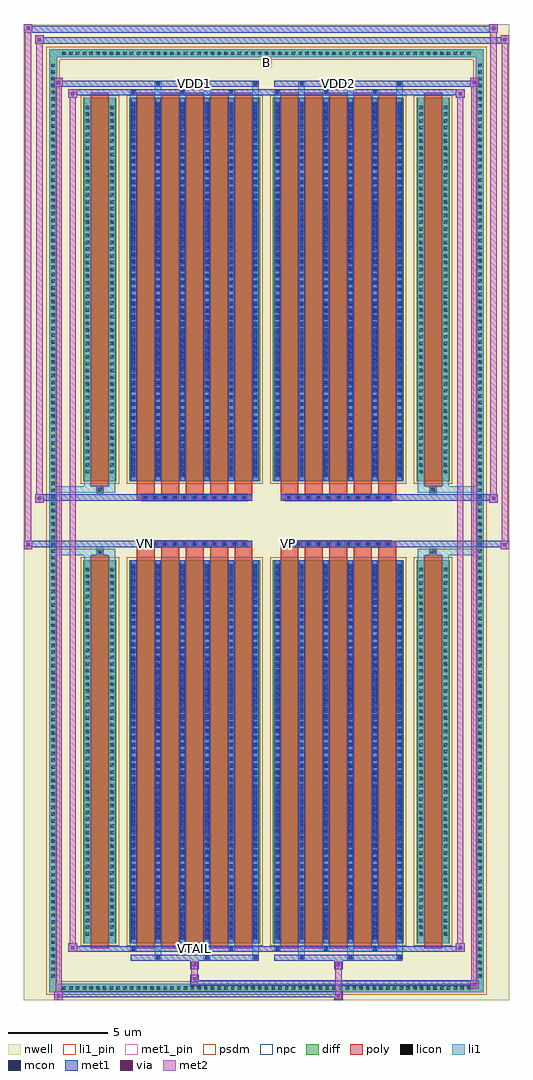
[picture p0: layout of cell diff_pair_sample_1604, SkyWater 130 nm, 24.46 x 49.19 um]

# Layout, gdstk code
import gdstk
lib = gdstk.Library(unit=1e-6, precision=5e-09)
def R(c, l, rs):  # rectangles x0, y0, x1, y1
    for r in rs: c.add(gdstk.rectangle(r[:2], r[2:], *l))
def A(c, l, x, y, w, h, nx, ny, dx, dy):  # array of equal rectangles
    R(c, l, [(x+i*dx, y+j*dy, x+i*dx+w, y+j*dy+h) for i in range(nx) for j in range(ny)])
def P(c, l, *ps):  # polygons
    for p in ps: c.add(gdstk.Polygon(p, *l))
nwell = (64, 20)
diff = (65, 20)
poly = (66, 20)
licon = (66, 44)
li1_pin = (67, 16)
li1 = (67, 20)
mcon = (67, 44)
met1_pin = (68, 16)
met1 = (68, 20)
via = (68, 44)
met2 = (69, 20)
psdm = (94, 20)
npc = (95, 20)

diff_pair_sample_1604 = lib.new_cell('diff_pair_sample_1604')
R(diff_pair_sample_1604, nwell, [(-12.23,-24.16,12.23,25.03), (-9.55,-22.35,-0.01,-0.805), (0.01,-22.35,9.55,-0.805), (-9.55,0.805,-0.01,22.35), (0.01,0.805,9.55,22.35)])
A(diff_pair_sample_1604, diff, -10.405, -23.76, 0.41, 0.41, 61, 2, 0.34, 47.11)
A(diff_pair_sample_1604, diff, -10.96, -23.155, 0.41, 0.41, 1, 136, 0, 0.34)
A(diff_pair_sample_1604, diff, 10.55, -23.155, 0.41, 0.41, 1, 136, 0, 0.34)
R(diff_pair_sample_1604, diff, [(-10.405,-23.76,10.405,-23.35), (-10.96,-23.155,-10.55,23.155), (10.55,-23.155,10.96,23.155), (-9.24,-21.305,-7.56,-1.985), (-6.92,-21.305,-0.32,-1.985), (0.32,-21.305,6.92,-1.985), (7.56,-21.305,9.24,-1.985), (-9.24,1.985,-7.56,21.305), (-6.92,1.985,-0.32,21.305), (0.32,1.985,6.92,21.305), (7.56,1.985,9.24,21.305), (-10.405,23.35,10.405,23.76)])
P(diff_pair_sample_1604, diff, [(10.96,23.76),(-10.96,23.76),(-10.96,-23.35),(-10.55,-23.35),(-10.55,23.35),(10.55,23.35),(10.55,-23.35),(-10.55,-23.35),(-10.96,-23.35),(-10.96,-23.76),(10.96,-23.76)])
A(diff_pair_sample_1604, poly, -6.53, -21.555, 0.9, 19.82, 5, 2, 1.23, 23.29)
A(diff_pair_sample_1604, poly, 0.71, -21.555, 0.9, 19.82, 5, 2, 1.23, 23.29)
A(diff_pair_sample_1604, poly, -6.53, -1.735, 0.9, 0.4, 5, 2, 1.23, 3.07)
A(diff_pair_sample_1604, poly, 0.71, -1.735, 0.9, 0.4, 5, 2, 1.23, 3.07)
A(diff_pair_sample_1604, poly, -6.285, -1.335, 0.33, 0.33, 11, 2, 0.5, 2.34)
A(diff_pair_sample_1604, poly, 0.955, -1.335, 0.33, 0.33, 11, 2, 0.5, 2.34)
R(diff_pair_sample_1604, poly, [(-8.85,-21.555,-7.95,-1.735), (7.95,-21.555,8.85,-1.735), (-8.565,-1.735,-8.235,-1.405), (-8.565,-1.735,-8.235,-1.405), (8.235,-1.735,8.565,-1.405), (8.235,-1.735,8.565,-1.405), (-6.53,-1.335,-0.71,-1.005), (0.71,-1.335,6.53,-1.005), (-6.53,1.005,-0.71,1.335), (0.71,1.005,6.53,1.335), (-8.565,1.405,-8.235,1.735), (-8.565,1.405,-8.235,1.735), (8.235,1.405,8.565,1.735), (8.235,1.405,8.565,1.735), (-8.85,1.735,-7.95,21.555), (7.95,1.735,8.85,21.555)])
A(diff_pair_sample_1604, licon, -10.285, -23.64, 0.17, 0.17, 61, 2, 0.34, 47.11)
A(diff_pair_sample_1604, licon, -10.84, -23.035, 0.17, 0.17, 1, 136, 0, 0.34)
A(diff_pair_sample_1604, licon, 10.67, -23.035, 0.17, 0.17, 1, 136, 0, 0.34)
A(diff_pair_sample_1604, licon, -9.1, -20.91, 0.17, 0.17, 1, 55, 0, 0.34)
A(diff_pair_sample_1604, licon, -7.87, -20.91, 0.17, 0.17, 1, 55, 0, 0.34)
A(diff_pair_sample_1604, licon, -6.78, -20.91, 0.17, 0.17, 6, 55, 1.23, 0.34)
A(diff_pair_sample_1604, licon, 0.46, -20.91, 0.17, 0.17, 6, 55, 1.23, 0.34)
A(diff_pair_sample_1604, licon, 7.7, -20.91, 0.17, 0.17, 1, 55, 0, 0.34)
A(diff_pair_sample_1604, licon, 8.93, -20.91, 0.17, 0.17, 1, 55, 0, 0.34)
A(diff_pair_sample_1604, licon, -6.205, -1.255, 0.17, 0.17, 11, 2, 0.5, 2.34)
A(diff_pair_sample_1604, licon, 1.035, -1.255, 0.17, 0.17, 11, 2, 0.5, 2.34)
A(diff_pair_sample_1604, licon, -9.1, 2.38, 0.17, 0.17, 1, 55, 0, 0.34)
A(diff_pair_sample_1604, licon, -7.87, 2.38, 0.17, 0.17, 1, 55, 0, 0.34)
A(diff_pair_sample_1604, licon, -6.78, 2.38, 0.17, 0.17, 6, 55, 1.23, 0.34)
A(diff_pair_sample_1604, licon, 0.46, 2.38, 0.17, 0.17, 6, 55, 1.23, 0.34)
A(diff_pair_sample_1604, licon, 7.7, 2.38, 0.17, 0.17, 1, 55, 0, 0.34)
A(diff_pair_sample_1604, licon, 8.93, 2.38, 0.17, 0.17, 1, 55, 0, 0.34)
R(diff_pair_sample_1604, licon, [(-8.485,-1.655,-8.315,-1.485), (8.315,-1.655,8.485,-1.485), (-8.485,1.485,-8.315,1.655), (8.315,1.485,8.485,1.655)])
R(diff_pair_sample_1604, li1_pin, [(-0.25,22.85,0.25,23.35)])
A(diff_pair_sample_1604, li1, -10.365, -23.72, 0.33, 0.33, 61, 2, 0.34, 47.11)
A(diff_pair_sample_1604, li1, -10.92, -23.115, 0.33, 0.33, 1, 136, 0, 0.34)
A(diff_pair_sample_1604, li1, 10.59, -23.115, 0.33, 0.33, 1, 136, 0, 0.34)
A(diff_pair_sample_1604, li1, -5.63, -22.11, 0.33, 0.805, 3, 2, 2.46, 43.415)
A(diff_pair_sample_1604, li1, -5.55, -22.11, 0.17, 0.17, 3, 2, 2.46, 44.05)
A(diff_pair_sample_1604, li1, 1.61, -22.11, 0.33, 0.805, 3, 2, 2.46, 43.415)
A(diff_pair_sample_1604, li1, 1.69, -22.11, 0.17, 0.17, 3, 2, 2.46, 44.05)
A(diff_pair_sample_1604, li1, -6.86, -21.68, 0.33, 0.375, 3, 2, 2.46, 42.985)
A(diff_pair_sample_1604, li1, -6.78, -21.68, 0.17, 0.17, 3, 2, 2.46, 43.19)
A(diff_pair_sample_1604, li1, 0.38, -21.68, 0.33, 0.375, 3, 2, 2.46, 42.985)
A(diff_pair_sample_1604, li1, 0.46, -21.68, 0.17, 0.17, 3, 2, 2.46, 43.19)
A(diff_pair_sample_1604, li1, -6.86, -21.305, 0.33, 19.32, 6, 2, 1.23, 23.29)
A(diff_pair_sample_1604, li1, 0.38, -21.305, 0.33, 19.32, 6, 2, 1.23, 23.29)
A(diff_pair_sample_1604, li1, -6.78, -21.09, 0.17, 0.17, 6, 53, 1.23, 0.36)
A(diff_pair_sample_1604, li1, -6.78, -21.09, 0.17, 18.89, 6, 2, 1.23, 23.29)
A(diff_pair_sample_1604, li1, 0.46, -21.09, 0.17, 0.17, 6, 53, 1.23, 0.36)
A(diff_pair_sample_1604, li1, 0.46, -21.09, 0.17, 18.89, 6, 2, 1.23, 23.29)
A(diff_pair_sample_1604, li1, -9.18, -20.99, 0.33, 0.33, 1, 55, 0, 0.34)
A(diff_pair_sample_1604, li1, -7.95, -20.99, 0.33, 0.33, 1, 55, 0, 0.34)
A(diff_pair_sample_1604, li1, -6.86, -20.99, 0.33, 0.33, 6, 55, 1.23, 0.34)
A(diff_pair_sample_1604, li1, 0.38, -20.99, 0.33, 0.33, 6, 55, 1.23, 0.34)
A(diff_pair_sample_1604, li1, 7.62, -20.99, 0.33, 0.33, 1, 55, 0, 0.34)
A(diff_pair_sample_1604, li1, 8.85, -20.99, 0.33, 0.33, 1, 55, 0, 0.34)
A(diff_pair_sample_1604, li1, -6.285, -1.335, 0.33, 0.33, 11, 2, 0.5, 2.34)
A(diff_pair_sample_1604, li1, 0.955, -1.335, 0.33, 0.33, 11, 2, 0.5, 2.34)
A(diff_pair_sample_1604, li1, -6.78, 2.2, 0.17, 0.17, 6, 53, 1.23, 0.36)
A(diff_pair_sample_1604, li1, 0.46, 2.2, 0.17, 0.17, 6, 53, 1.23, 0.36)
A(diff_pair_sample_1604, li1, -9.18, 2.3, 0.33, 0.33, 1, 55, 0, 0.34)
A(diff_pair_sample_1604, li1, -7.95, 2.3, 0.33, 0.33, 1, 55, 0, 0.34)
A(diff_pair_sample_1604, li1, -6.86, 2.3, 0.33, 0.33, 6, 55, 1.23, 0.34)
A(diff_pair_sample_1604, li1, 0.38, 2.3, 0.33, 0.33, 6, 55, 1.23, 0.34)
A(diff_pair_sample_1604, li1, 7.62, 2.3, 0.33, 0.33, 1, 55, 0, 0.34)
A(diff_pair_sample_1604, li1, 8.85, 2.3, 0.33, 0.33, 1, 55, 0, 0.34)
R(diff_pair_sample_1604, li1, [(-10.96,-23.76,-10.55,-23.35), (-10.96,-23.76,-10.55,-23.35), (-10.55,-23.76,10.55,-23.35), (10.55,-23.76,10.96,-23.35), (10.55,-23.76,10.96,-23.35), (-10.96,-23.35,-10.55,23.35), (10.55,-23.35,10.96,23.35), (-9.18,-21.305,-8.85,-1.985), (-7.95,-21.305,-7.62,-1.985), (7.62,-21.305,7.95,-1.985), (8.85,-21.305,9.18,-1.985), (-9.18,-1.985,-8.85,-1.405), (-7.95,-1.985,-7.62,-1.405), (7.62,-1.985,7.95,-1.405), (8.85,-1.985,9.18,-1.405), (-10.96,-1.735,-8.565,-1.405), (-9.18,-1.735,-8.565,-1.405), (-8.565,-1.735,-8.235,-1.405), (-8.235,-1.735,-7.62,-1.405), (7.62,-1.735,8.235,-1.405), (8.235,-1.735,8.565,-1.405), (8.235,-1.735,10.96,-1.405), (8.565,-1.735,9.18,-1.405), (-10.96,1.405,-8.565,1.735), (-9.18,1.405,-8.565,1.735), (-9.18,1.405,-8.85,1.985), (-8.565,1.405,-8.235,1.735), (-8.235,1.405,-7.62,1.735), (-7.95,1.405,-7.62,1.985), (7.62,1.405,8.235,1.735), (7.62,1.405,7.95,1.985), (8.235,1.405,8.565,1.735), (8.235,1.405,10.96,1.735), (8.565,1.405,9.18,1.735), (8.85,1.405,9.18,1.985), (-9.18,1.985,-8.85,21.305), (-7.95,1.985,-7.62,21.305), (7.62,1.985,7.95,21.305), (8.85,1.985,9.18,21.305), (-10.96,23.35,-10.55,23.76), (-10.96,23.35,-10.55,23.76), (-10.55,23.35,10.55,23.76), (10.55,23.35,10.96,23.76), (10.55,23.35,10.96,23.76)])
A(diff_pair_sample_1604, mcon, -5.55, -22.11, 0.17, 0.17, 3, 2, 2.46, 44.05)
A(diff_pair_sample_1604, mcon, 1.69, -22.11, 0.17, 0.17, 3, 2, 2.46, 44.05)
A(diff_pair_sample_1604, mcon, -6.78, -21.68, 0.17, 0.17, 3, 2, 2.46, 43.19)
A(diff_pair_sample_1604, mcon, 0.46, -21.68, 0.17, 0.17, 3, 2, 2.46, 43.19)
A(diff_pair_sample_1604, mcon, -6.78, -21.09, 0.17, 0.17, 6, 53, 1.23, 0.36)
A(diff_pair_sample_1604, mcon, 0.46, -21.09, 0.17, 0.17, 6, 53, 1.23, 0.36)
A(diff_pair_sample_1604, mcon, -6.205, -1.255, 0.17, 0.17, 11, 2, 0.5, 2.34)
A(diff_pair_sample_1604, mcon, 1.035, -1.255, 0.17, 0.17, 11, 2, 0.5, 2.34)
A(diff_pair_sample_1604, mcon, -6.78, 2.2, 0.17, 0.17, 6, 53, 1.23, 0.36)
A(diff_pair_sample_1604, mcon, 0.46, 2.2, 0.17, 0.17, 6, 53, 1.23, 0.36)
R(diff_pair_sample_1604, met1_pin, [(-3.755,-21.72,-3.485,-21.45), (-6.255,-1.295,-5.985,-1.025), (0.985,-1.295,1.255,-1.025), (-3.755,21.9,-3.485,22.17), (3.485,21.9,3.755,22.17)])
A(diff_pair_sample_1604, met1, -5.61, -22.17, 0.29, 0.29, 3, 2, 2.46, 44.05)
A(diff_pair_sample_1604, met1, 1.63, -22.17, 0.29, 0.29, 3, 2, 2.46, 44.05)
A(diff_pair_sample_1604, met1, -6.84, -21.74, 0.29, 0.29, 3, 2, 2.46, 43.19)
A(diff_pair_sample_1604, met1, 0.4, -21.74, 0.29, 0.29, 3, 2, 2.46, 43.19)
A(diff_pair_sample_1604, met1, -6.84, -21.305, 0.29, 19.32, 6, 2, 1.23, 23.29)
A(diff_pair_sample_1604, met1, 0.4, -21.305, 0.29, 19.32, 6, 2, 1.23, 23.29)
A(diff_pair_sample_1604, met1, -6.84, -21.15, 0.29, 0.29, 6, 53, 1.23, 0.36)
A(diff_pair_sample_1604, met1, 0.4, -21.15, 0.29, 0.29, 6, 53, 1.23, 0.36)
A(diff_pair_sample_1604, met1, -6.265, -1.315, 0.29, 0.29, 11, 2, 0.5, 2.34)
A(diff_pair_sample_1604, met1, 0.975, -1.315, 0.29, 0.29, 11, 2, 0.5, 2.34)
A(diff_pair_sample_1604, met1, -6.84, 2.14, 0.29, 0.29, 6, 53, 1.23, 0.36)
A(diff_pair_sample_1604, met1, 0.4, 2.14, 0.29, 0.29, 6, 53, 1.23, 0.36)
R(diff_pair_sample_1604, met1, [(-10.69,-24.16,-10.26,-23.73), (3.405,-24.16,3.835,-23.73), (-10.69,-24.02,3.835,-23.73), (10.26,-23.59,10.69,-23.16), (-3.835,-23.45,10.69,-23.16), (-3.835,-23.31,-3.405,-22.88), (-3.835,-22.6,-3.405,-22.17), (3.405,-22.6,3.835,-22.17), (-6.84,-22.17,-0.4,-21.88), (0.4,-22.17,6.84,-21.88), (-9.98,-21.74,-9.55,-21.31), (-9.98,-21.74,-6.84,-21.45), (-6.84,-21.74,-0.4,-21.45), (-0.4,-21.74,0.4,-21.45), (0.4,-21.74,6.84,-21.45), (6.84,-21.74,9.98,-21.45), (9.55,-21.74,9.98,-21.31), (-12.23,-1.435,-11.8,-1.005), (11.8,-1.435,12.23,-1.005), (-12.23,-1.335,-0.71,-1.005), (-6.53,-1.335,-0.71,-1.005), (0.71,-1.335,6.53,-1.005), (0.71,-1.335,12.23,-1.005), (-11.66,0.905,-11.23,1.335), (11.23,0.905,11.66,1.335), (-11.66,1.005,-6.53,1.335), (-6.53,1.005,-0.71,1.335), (0.71,1.005,6.53,1.335), (6.53,1.005,11.66,1.335), (-9.98,21.31,-9.55,21.74), (9.55,21.31,9.98,21.74), (-9.98,21.45,-6.84,21.74), (-6.84,21.45,-0.4,21.74), (-0.4,21.45,0.4,21.74), (0.4,21.45,6.84,21.74), (6.84,21.45,9.98,21.74), (-10.69,21.88,-10.26,22.31), (-10.69,21.88,-6.84,22.17), (-6.84,21.88,-0.4,22.17), (0.4,21.88,6.84,22.17), (6.84,21.88,10.69,22.17), (10.26,21.88,10.69,22.31), (-11.66,24.03,-11.23,24.46), (-11.66,24.03,-9.55,24.36), (-9.55,24.03,9.55,24.36), (9.55,24.03,12.23,24.36), (11.8,24.03,12.23,24.46), (-12.23,24.6,-11.8,25.03), (-12.23,24.6,-9.55,24.93), (-9.55,24.6,9.55,24.93), (9.55,24.6,11.66,24.93), (11.23,24.6,11.66,25.03)])
R(diff_pair_sample_1604, via, [(-10.55,-24.02,-10.4,-23.87), (3.545,-24.02,3.695,-23.87), (10.4,-23.45,10.55,-23.3), (-3.695,-23.17,-3.545,-23.02), (-3.695,-22.46,-3.545,-22.31), (3.545,-22.46,3.695,-22.31), (-9.84,-21.6,-9.69,-21.45), (9.69,-21.6,9.84,-21.45), (-12.09,-1.295,-11.94,-1.145), (11.94,-1.295,12.09,-1.145), (-11.52,1.045,-11.37,1.195), (11.37,1.045,11.52,1.195), (-9.84,21.45,-9.69,21.6), (9.69,21.45,9.84,21.6), (-10.55,22.02,-10.4,22.17), (10.4,22.02,10.55,22.17), (-11.52,24.17,-11.37,24.32), (11.94,24.17,12.09,24.32), (-12.09,24.74,-11.94,24.89), (11.37,24.74,11.52,24.89)])
R(diff_pair_sample_1604, met2, [(-10.69,-24.16,-10.26,-23.73), (-10.62,-24.16,-10.33,22.31), (-10.33,-24.16,-10.26,-23.73), (-10.64,-24.11,-10.31,-23.78), (3.455,-24.11,3.785,-23.78), (3.455,-23.78,3.785,-22.55), (10.26,-23.59,10.69,-23.16), (10.33,-23.59,10.62,22.31), (10.62,-23.59,10.69,-23.16), (10.31,-23.54,10.64,-23.21), (-3.785,-23.26,-3.455,-22.93), (-3.785,-22.93,-3.455,-22.55), (-3.785,-22.55,-3.455,-22.22), (3.455,-22.55,3.785,-22.22), (-9.98,-21.74,-9.55,-21.31), (-9.91,-21.74,-9.62,21.74), (-9.62,-21.74,-9.55,-21.31), (9.55,-21.74,9.98,-21.31), (9.62,-21.74,9.91,21.74), (9.91,-21.74,9.98,-21.31), (-9.93,-21.69,-9.6,-21.36), (9.6,-21.69,9.93,-21.36), (-12.23,-1.435,-11.8,-1.005), (-12.18,-1.435,-11.85,25.03), (-11.85,-1.435,-11.8,-1.005), (11.8,-1.435,12.23,-1.005), (11.85,-1.435,12.18,24.46), (12.18,-1.435,12.23,-1.005), (-12.18,-1.385,-11.85,-1.055), (11.85,-1.385,12.18,-1.055), (-11.66,0.905,-11.23,1.335), (-11.61,0.905,-11.28,24.46), (-11.28,0.905,-11.23,1.335), (11.23,0.905,11.66,1.335), (11.28,0.905,11.61,25.03), (11.61,0.905,11.66,1.335), (-11.61,0.955,-11.28,1.285), (11.28,0.955,11.61,1.285), (-9.98,21.31,-9.55,21.74), (-9.62,21.31,-9.55,21.74), (9.55,21.31,9.98,21.74), (9.91,21.31,9.98,21.74), (-9.93,21.36,-9.6,21.69), (9.6,21.36,9.93,21.69), (-10.69,21.88,-10.26,22.31), (-10.33,21.88,-10.26,22.31), (10.26,21.88,10.69,22.31), (10.62,21.88,10.69,22.31), (-10.64,21.93,-10.31,22.26), (10.31,21.93,10.64,22.26), (-11.66,24.03,-11.23,24.46), (-11.28,24.03,-11.23,24.46), (11.8,24.03,12.23,24.46), (12.18,24.03,12.23,24.46), (-11.61,24.08,-11.28,24.41), (11.85,24.08,12.18,24.41), (-12.23,24.6,-11.8,25.03), (-11.85,24.6,-11.8,25.03), (11.23,24.6,11.66,25.03), (11.61,24.6,11.66,25.03), (-12.18,24.65,-11.85,24.98), (11.28,24.65,11.61,24.98)])
R(diff_pair_sample_1604, psdm, [(-9.37,-21.435,-7.43,-1.855), (-7.05,-21.435,-0.19,-1.855), (0.19,-21.435,7.05,-1.855), (7.43,-21.435,9.37,-1.855), (-9.37,1.855,-7.43,21.435), (-7.05,1.855,-0.19,21.435), (0.19,1.855,7.05,21.435), (7.43,1.855,9.37,21.435)])
P(diff_pair_sample_1604, psdm, [(11.09,23.89),(-11.09,23.89),(-11.09,-23.22),(-10.42,-23.22),(-10.42,23.22),(10.42,23.22),(10.42,-23.22),(-10.42,-23.22),(-11.09,-23.22),(-11.09,-23.89),(11.09,-23.89)])
A(diff_pair_sample_1604, npc, -6.305, -1.355, 0.37, 0.37, 11, 2, 0.5, 2.34)
A(diff_pair_sample_1604, npc, 0.935, -1.355, 0.37, 0.37, 11, 2, 0.5, 2.34)
R(diff_pair_sample_1604, npc, [(-8.585,-1.755,-8.215,-1.385), (8.215,-1.755,8.585,-1.385), (-6.305,-1.355,-5.435,-0.985), (-6.305,-1.355,-5.435,-0.985), (-5.805,-1.355,-4.935,-0.985), (-5.805,-1.355,-4.935,-0.985), (-5.305,-1.355,-4.435,-0.985), (-5.305,-1.355,-4.435,-0.985), (-4.805,-1.355,-3.935,-0.985), (-4.805,-1.355,-3.935,-0.985), (-4.305,-1.355,-3.435,-0.985), (-4.305,-1.355,-3.435,-0.985), (-3.805,-1.355,-2.935,-0.985), (-3.805,-1.355,-2.935,-0.985), (-3.305,-1.355,-2.435,-0.985), (-3.305,-1.355,-2.435,-0.985), (-2.805,-1.355,-1.935,-0.985), (-2.805,-1.355,-1.935,-0.985), (-2.305,-1.355,-1.435,-0.985), (-2.305,-1.355,-1.435,-0.985), (-1.805,-1.355,-0.935,-0.985), (-1.805,-1.355,-0.935,-0.985), (0.935,-1.355,1.805,-0.985), (0.935,-1.355,1.805,-0.985), (1.435,-1.355,2.305,-0.985), (1.435,-1.355,2.305,-0.985), (1.935,-1.355,2.805,-0.985), (1.935,-1.355,2.805,-0.985), (2.435,-1.355,3.305,-0.985), (2.435,-1.355,3.305,-0.985), (2.935,-1.355,3.805,-0.985), (2.935,-1.355,3.805,-0.985), (3.435,-1.355,4.305,-0.985), (3.435,-1.355,4.305,-0.985), (3.935,-1.355,4.805,-0.985), (3.935,-1.355,4.805,-0.985), (4.435,-1.355,5.305,-0.985), (4.435,-1.355,5.305,-0.985), (4.935,-1.355,5.805,-0.985), (4.935,-1.355,5.805,-0.985), (5.435,-1.355,6.305,-0.985), (5.435,-1.355,6.305,-0.985), (-6.305,0.985,-5.435,1.355), (-6.305,0.985,-5.435,1.355), (-5.805,0.985,-4.935,1.355), (-5.805,0.985,-4.935,1.355), (-5.305,0.985,-4.435,1.355), (-5.305,0.985,-4.435,1.355), (-4.805,0.985,-3.935,1.355), (-4.805,0.985,-3.935,1.355), (-4.305,0.985,-3.435,1.355), (-4.305,0.985,-3.435,1.355), (-3.805,0.985,-2.935,1.355), (-3.805,0.985,-2.935,1.355), (-3.305,0.985,-2.435,1.355), (-3.305,0.985,-2.435,1.355), (-2.805,0.985,-1.935,1.355), (-2.805,0.985,-1.935,1.355), (-2.305,0.985,-1.435,1.355), (-2.305,0.985,-1.435,1.355), (-1.805,0.985,-0.935,1.355), (-1.805,0.985,-0.935,1.355), (0.935,0.985,1.805,1.355), (0.935,0.985,1.805,1.355), (1.435,0.985,2.305,1.355), (1.435,0.985,2.305,1.355), (1.935,0.985,2.805,1.355), (1.935,0.985,2.805,1.355), (2.435,0.985,3.305,1.355), (2.435,0.985,3.305,1.355), (2.935,0.985,3.805,1.355), (2.935,0.985,3.805,1.355), (3.435,0.985,4.305,1.355), (3.435,0.985,4.305,1.355), (3.935,0.985,4.805,1.355), (3.935,0.985,4.805,1.355), (4.435,0.985,5.305,1.355), (4.435,0.985,5.305,1.355), (4.935,0.985,5.805,1.355), (4.935,0.985,5.805,1.355), (5.435,0.985,6.305,1.355), (5.435,0.985,6.305,1.355), (-8.585,1.385,-8.215,1.755), (8.215,1.385,8.585,1.755)])
diff_pair_sample_1604.add(gdstk.Label('VTAIL', (-3.62,-21.585), layer=68, texttype=5))
diff_pair_sample_1604.add(gdstk.Label('VN', (-6.12,-1.16), layer=68, texttype=5))
diff_pair_sample_1604.add(gdstk.Label('VP', (1.12,-1.16), layer=68, texttype=5))
diff_pair_sample_1604.add(gdstk.Label('B', (0,23.1), layer=67, texttype=5))
diff_pair_sample_1604.add(gdstk.Label('VDD2', (3.62,22.035), layer=68, texttype=5))
diff_pair_sample_1604.add(gdstk.Label('VDD1', (-3.62,22.035), layer=68, texttype=5))

lib.write_gds('diff_pair_sample_1604.gds')
